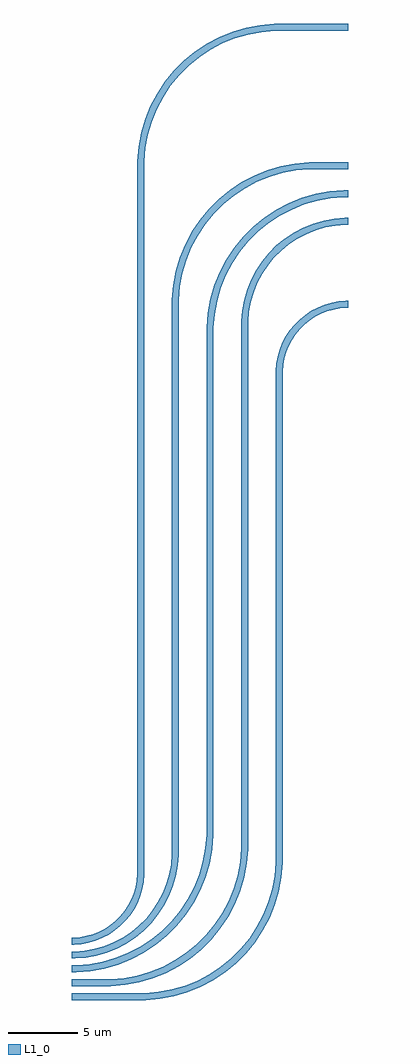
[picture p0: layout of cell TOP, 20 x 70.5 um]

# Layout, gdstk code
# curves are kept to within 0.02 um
import gdstk
lib = gdstk.Library(unit=1e-6, precision=1e-09)
def P(c, l, *ps):  # polygons
    for p in ps: c.add(gdstk.Polygon(p, *l))
L1_0 = (1, 0)

round_path = lib.new_cell('ROUND_PATH')
P(round_path, L1_0, [(0,3.75),(0,4.25),(0.633,4.29),(1.102,4.377),(1.559,4.51),(2,4.689),(2.422,4.911),(2.819,5.174),(3.188,5.475),(3.525,5.812),(3.826,6.181),(4.089,6.578),(4.311,7),(4.49,7.441),(4.623,7.898),(4.71,8.367),(4.75,9),(5.25,9),(5.206,8.3),(5.11,7.782),(4.962,7.277),(4.765,6.789),(4.52,6.323),(4.229,5.884),(3.896,5.476),(3.524,5.104),(3.116,4.771),(2.677,4.48),(2.211,4.235),(1.723,4.038),(1.218,3.89),(0.7,3.794)])

round_path_1 = lib.new_cell('ROUND_PATH$1')
P(round_path_1, L1_0, [(4.75,9),(4.75,60.345),(4.836,61.367),(5.023,62.378),(5.312,63.364),(5.697,64.317),(6.176,65.227),(6.743,66.084),(7.394,66.88),(8.12,67.606),(8.916,68.257),(9.773,68.824),(10.683,69.303),(11.636,69.688),(12.622,69.977),(13.633,70.164),(14.655,70.25),(20,70.25),(20,69.75),(14.676,69.75),(13.7,69.668),(12.739,69.49),(11.8,69.216),(10.894,68.849),(10.029,68.393),(9.213,67.854),(8.456,67.235),(7.765,66.544),(7.146,65.787),(6.607,64.971),(6.151,64.106),(5.784,63.2),(5.51,62.261),(5.332,61.3),(5.25,60.324),(5.25,9)])

round_path_2 = lib.new_cell('ROUND_PATH$2')
P(round_path_2, L1_0, [(0,2.75),(0,3.25),(0.967,3.311),(1.682,3.444),(2.379,3.647),(3.053,3.92),(3.697,4.259),(4.303,4.66),(4.866,5.12),(5.38,5.634),(5.84,6.197),(6.241,6.803),(6.58,7.447),(6.853,8.121),(7.056,8.818),(7.189,9.533),(7.25,10.5),(7.75,10.5),(7.685,9.466),(7.543,8.702),(7.325,7.956),(7.034,7.236),(6.672,6.548),(6.243,5.9),(5.751,5.298),(5.202,4.749),(4.6,4.257),(3.952,3.828),(3.264,3.466),(2.544,3.175),(1.798,2.957),(1.034,2.815)])

round_path_3 = lib.new_cell('ROUND_PATH$3')
P(round_path_3, L1_0, [(7.25,10.5),(7.25,50.345),(7.336,51.367),(7.523,52.378),(7.812,53.364),(8.197,54.317),(8.676,55.227),(9.243,56.084),(9.894,56.88),(10.62,57.606),(11.416,58.257),(12.273,58.824),(13.183,59.303),(14.136,59.688),(15.122,59.977),(16.133,60.164),(17.155,60.25),(20,60.25),(20,59.75),(17.176,59.75),(16.2,59.668),(15.239,59.49),(14.3,59.216),(13.394,58.849),(12.529,58.393),(11.713,57.854),(10.956,57.235),(10.265,56.544),(9.646,55.787),(9.107,54.971),(8.651,54.106),(8.284,53.2),(8.01,52.261),(7.832,51.3),(7.75,50.324),(7.75,10.5)])

round_path_4 = lib.new_cell('ROUND_PATH$4')
P(round_path_4, L1_0, [(0,1.75),(0,2.25),(0.324,2.25),(1.3,2.332),(2.261,2.51),(3.2,2.784),(4.106,3.151),(4.971,3.607),(5.787,4.146),(6.544,4.765),(7.235,5.456),(7.854,6.213),(8.393,7.029),(8.849,7.894),(9.216,8.8),(9.49,9.739),(9.668,10.7),(9.75,11.676),(9.75,12),(10.25,12),(10.25,11.655),(10.164,10.633),(9.977,9.622),(9.688,8.636),(9.303,7.683),(8.824,6.773),(8.257,5.916),(7.606,5.12),(6.88,4.394),(6.084,3.743),(5.227,3.176),(4.317,2.697),(3.364,2.312),(2.378,2.023),(1.367,1.836),(0.345,1.75)])

round_path_5 = lib.new_cell('ROUND_PATH$5')
P(round_path_5, L1_0, [(9.75,12),(9.75,48.345),(9.836,49.367),(10.023,50.378),(10.312,51.364),(10.697,52.317),(11.176,53.227),(11.743,54.084),(12.394,54.88),(13.12,55.606),(13.916,56.257),(14.773,56.824),(15.683,57.303),(16.636,57.688),(17.622,57.977),(18.633,58.164),(19.655,58.25),(20,58.25),(20,57.75),(19.676,57.75),(18.7,57.668),(17.739,57.49),(16.8,57.216),(15.894,56.849),(15.029,56.393),(14.213,55.854),(13.456,55.235),(12.765,54.544),(12.146,53.787),(11.607,52.971),(11.151,52.106),(10.784,51.2),(10.51,50.261),(10.332,49.3),(10.25,48.324),(10.25,12)])

round_path_6 = lib.new_cell('ROUND_PATH$6')
P(round_path_6, L1_0, [(0,0.75),(0,1.25),(2.824,1.25),(3.8,1.332),(4.761,1.51),(5.7,1.784),(6.606,2.151),(7.471,2.607),(8.287,3.146),(9.044,3.765),(9.735,4.456),(10.354,5.213),(10.893,6.029),(11.349,6.894),(11.716,7.8),(11.99,8.739),(12.168,9.7),(12.25,10.676),(12.25,13.5),(12.75,13.5),(12.75,10.655),(12.664,9.633),(12.477,8.622),(12.188,7.636),(11.803,6.683),(11.324,5.773),(10.757,4.916),(10.106,4.12),(9.38,3.394),(8.584,2.743),(7.727,2.176),(6.817,1.697),(5.864,1.312),(4.878,1.023),(3.867,0.836),(2.845,0.75)])

round_path_7 = lib.new_cell('ROUND_PATH$7')
P(round_path_7, L1_0, [(12.25,13.5),(12.25,48.761),(12.315,49.534),(12.457,50.298),(12.675,51.044),(12.966,51.764),(13.328,52.452),(13.757,53.1),(14.249,53.702),(14.798,54.251),(15.4,54.743),(16.048,55.172),(16.736,55.534),(17.456,55.825),(18.202,56.043),(18.966,56.185),(20,56.25),(20,55.75),(19.033,55.689),(18.318,55.556),(17.621,55.353),(16.947,55.08),(16.303,54.741),(15.697,54.34),(15.134,53.88),(14.62,53.366),(14.16,52.803),(13.759,52.197),(13.42,51.553),(13.147,50.879),(12.944,50.182),(12.811,49.467),(12.75,48.74),(12.75,13.5)])

round_path_8 = lib.new_cell('ROUND_PATH$8')
P(round_path_8, L1_0, [(0,-0.25),(0,0.25),(5.324,0.25),(6.3,0.332),(7.261,0.51),(8.2,0.784),(9.106,1.151),(9.971,1.607),(10.787,2.146),(11.544,2.765),(12.235,3.456),(12.854,4.213),(13.393,5.029),(13.849,5.894),(14.216,6.8),(14.49,7.739),(14.668,8.7),(14.75,9.676),(14.75,15),(15.25,15),(15.25,9.655),(15.164,8.633),(14.977,7.622),(14.688,6.636),(14.303,5.683),(13.824,4.773),(13.257,3.916),(12.606,3.12),(11.88,2.394),(11.084,1.743),(10.227,1.176),(9.317,0.697),(8.364,0.312),(7.378,0.023),(6.367,-0.164),(5.345,-0.25)])

round_path_9 = lib.new_cell('ROUND_PATH$9')
P(round_path_9, L1_0, [(14.75,15),(14.75,45.178),(14.794,45.7),(14.89,46.218),(15.038,46.723),(15.235,47.211),(15.48,47.677),(15.771,48.116),(16.104,48.524),(16.476,48.896),(16.884,49.229),(17.323,49.52),(17.789,49.765),(18.277,49.962),(18.782,50.11),(19.3,50.206),(20,50.25),(20,49.75),(19.367,49.71),(18.898,49.623),(18.441,49.49),(18,49.311),(17.578,49.089),(17.181,48.826),(16.812,48.525),(16.475,48.188),(16.174,47.819),(15.911,47.422),(15.689,47),(15.51,46.559),(15.377,46.102),(15.29,45.633),(15.25,45.157),(15.25,15)])

top = lib.new_cell('TOP')
top.add(gdstk.Reference(round_path, (0,0)))
top.add(gdstk.Reference(round_path_1, (0,0)))
top.add(gdstk.Reference(round_path_2, (0,0)))
top.add(gdstk.Reference(round_path_3, (0,0)))
top.add(gdstk.Reference(round_path_4, (0,0)))
top.add(gdstk.Reference(round_path_5, (0,0)))
top.add(gdstk.Reference(round_path_6, (0,0)))
top.add(gdstk.Reference(round_path_7, (0,0)))
top.add(gdstk.Reference(round_path_8, (0,0)))
top.add(gdstk.Reference(round_path_9, (0,0)))

lib.write_gds('TOP.gds')
